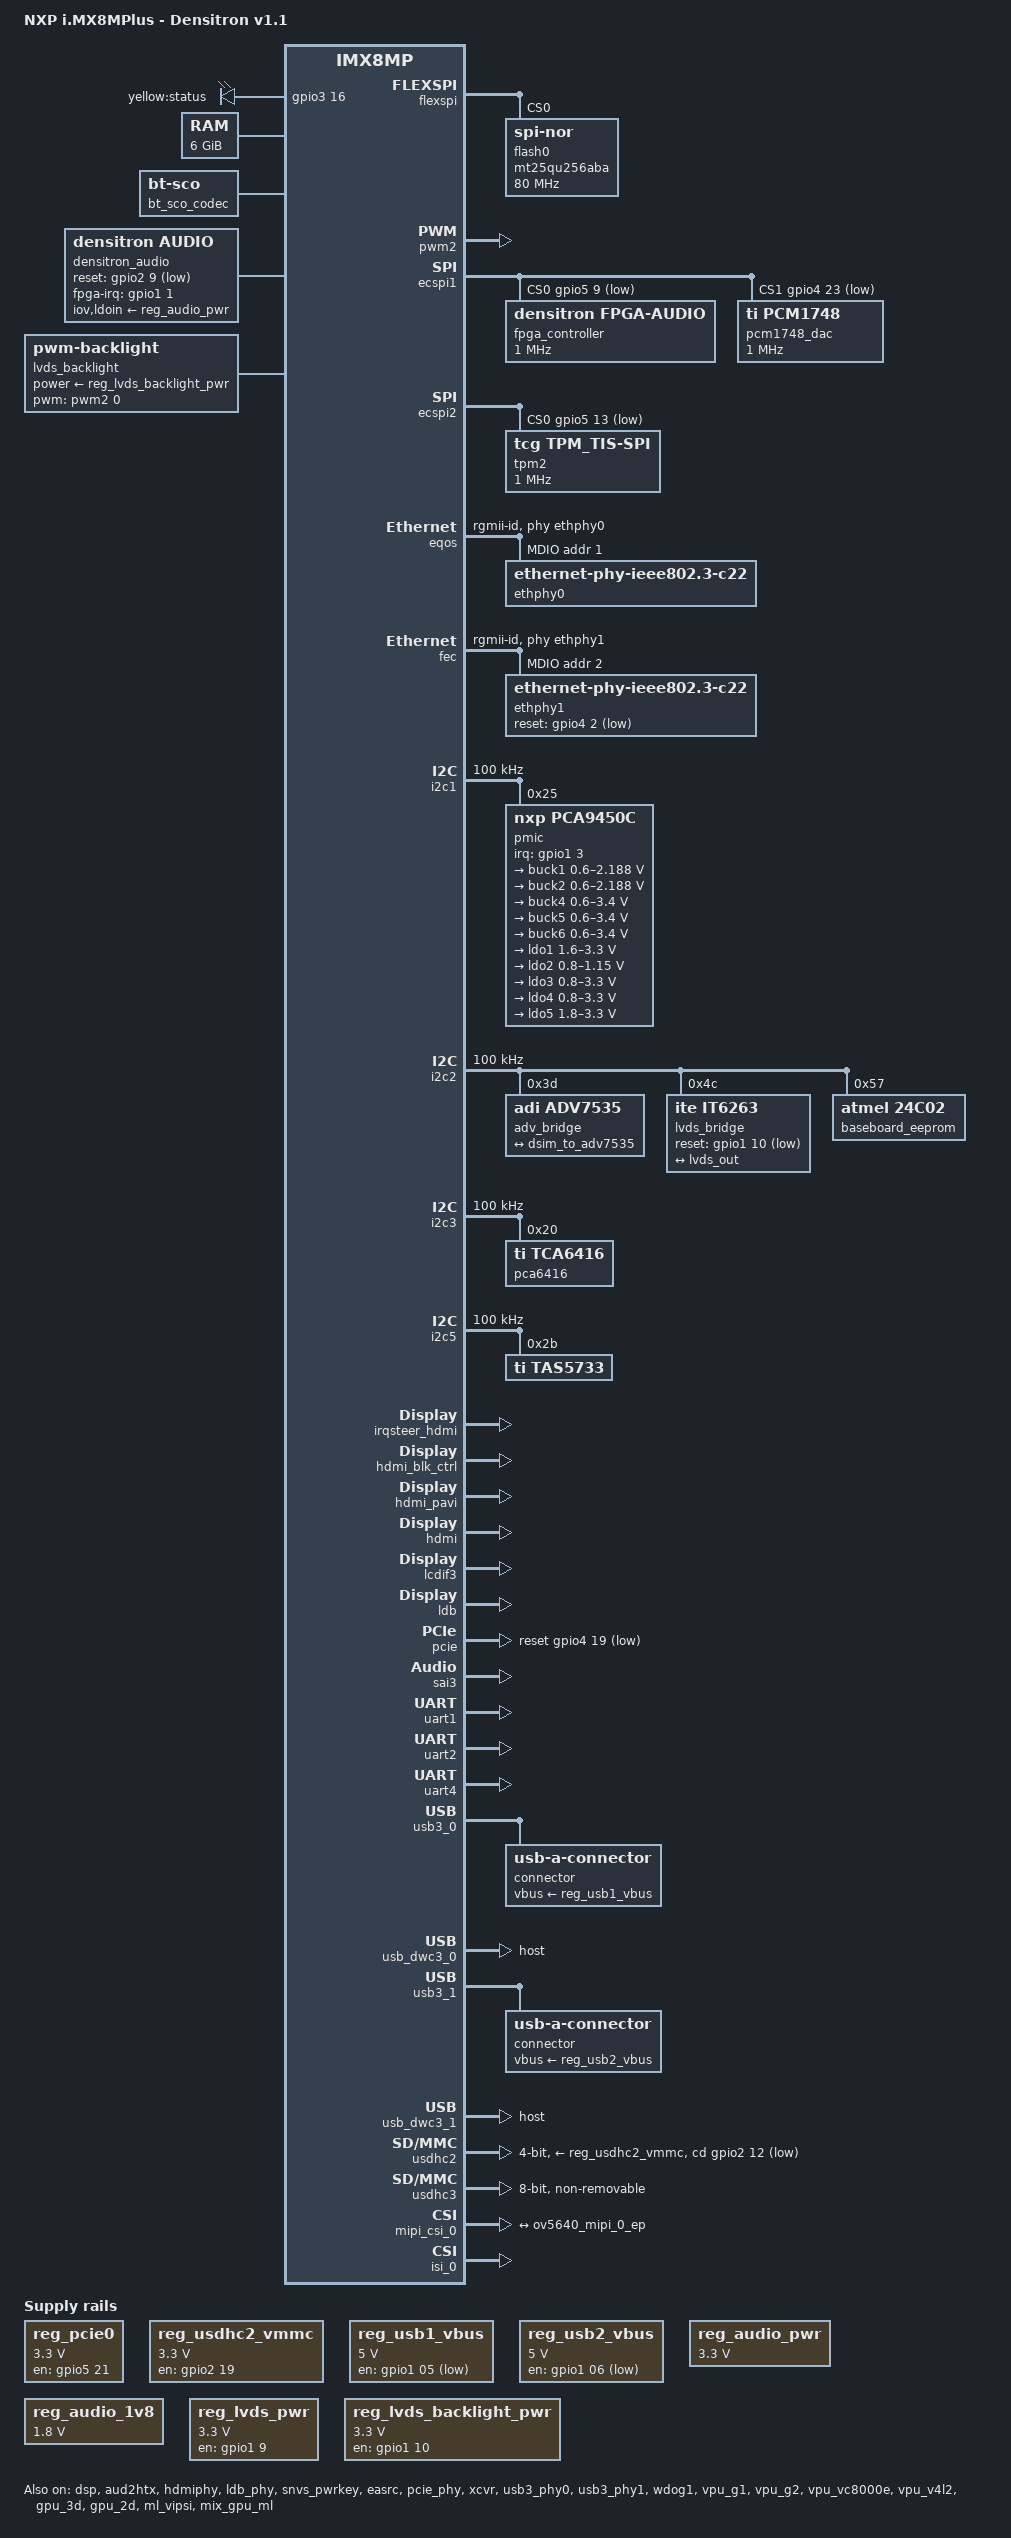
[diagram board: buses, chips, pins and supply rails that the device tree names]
// SPDX-License-Identifier: (GPL-2.0+ OR MIT)
/*
 * Copyright 2019 NXP
 */

/dts-v1/;

#include <dt-bindings/usb/pd.h>
#include "imx8mp.dtsi"

/ {
	model = "NXP i.MX8MPlus - Densitron v1.1 ";
	compatible = "fsl,imx8mp-evk", "fsl,imx8mp";

	aliases {
		spi4 = &ecspi1;
    //spi2 = &ecspi2;
	};

	chosen {
		stdout-path = &uart4;
	};

	gpio-leds {
		compatible = "gpio-leds";
		pinctrl-names = "default";
		pinctrl-0 = <&pinctrl_gpio_led>;

		status {
			label = "yellow:status";
			gpios = <&gpio3 16 GPIO_ACTIVE_HIGH>;
			default-state = "on";
		};
	};

	memory@40000000 {
		device_type = "memory";
		reg = <0x0 0x40000000 0 0xc0000000>,
		      <0x1 0x00000000 0 0xc0000000>;
	};
	
/*
	reg_can1_stby: regulator-can1-stby {
		compatible = "regulator-fixed";
		regulator-name = "can1-stby";
		pinctrl-names = "default";
		pinctrl-0 = <&pinctrl_flexcan1_reg>;
		regulator-min-microvolt = <3300000>;
		regulator-max-microvolt = <3300000>;
		gpio = <&gpio5 5 GPIO_ACTIVE_LOW>;
		enable-active-low;
	};

	reg_can2_stby: regulator-can2-stby {
		compatible = "regulator-fixed";
		regulator-name = "can2-stby";
		pinctrl-names = "default";
		pinctrl-0 = <&pinctrl_flexcan2_reg>;
		regulator-min-microvolt = <3300000>;
		regulator-max-microvolt = <3300000>;
		gpio = <&gpio4 27 GPIO_ACTIVE_LOW>;
		enable-active-low;
	};
*/

	reg_pcie0: regulator-pcie {
		compatible = "regulator-fixed";
		pinctrl-names = "default";
		pinctrl-0 = <&pinctrl_pcie0_reg>;
		regulator-name = "MPCIE_3V3";
		regulator-min-microvolt = <3300000>;
		regulator-max-microvolt = <3300000>;
		gpio = <&gpio5 21 GPIO_ACTIVE_HIGH>; //PCIe_nWAKE_3V3
		enable-active-high;
		regulator-always-on;
	};

	reg_usdhc2_vmmc: regulator-usdhc2 {
		compatible = "regulator-fixed";
		pinctrl-names = "default";
		pinctrl-0 = <&pinctrl_reg_usdhc2_vmmc>;
		regulator-name = "VSD_3V3";
		regulator-min-microvolt = <3300000>;
		regulator-max-microvolt = <3300000>;
		gpio = <&gpio2 19 GPIO_ACTIVE_HIGH>;
		enable-active-high;
		startup-delay-us = <100>;
		off-on-delay-us = <12000>;
	};

	reg_usb1_vbus: regulator-usb1 {
		compatible = "regulator-fixed";
		regulator-name = "USB1_VBUS";
		pinctrl-names = "default";
		pinctrl-0 = <&pinctrl_reg_usb1_vbus>;
		regulator-min-microvolt = <5000000>;
		regulator-max-microvolt = <5000000>;
		gpio = <&gpio1 05 GPIO_ACTIVE_HIGH>;
		enable-active-low;
		startup-delay-us = <100000>;
		regulator-always-on;
	};

	reg_usb2_vbus: regulator-usb2 {
		compatible = "regulator-fixed";
		regulator-name = "USB2_VBUS";
		pinctrl-names = "default";
		pinctrl-0 = <&pinctrl_reg_usb2_vbus>;
		regulator-min-microvolt = <5000000>;
		regulator-max-microvolt = <5000000>;
		gpio = <&gpio1 06 GPIO_ACTIVE_HIGH>;
		enable-active-low;
		startup-delay-us = <100000>;
		regulator-always-on;
	};

	reg_audio_pwr: regulator-audio-pwr {
		compatible = "regulator-fixed";
		regulator-name = "audio-pwr";
		regulator-min-microvolt = <3300000>;
		regulator-max-microvolt = <3300000>;
		/*gpio = <&gpio4 29 GPIO_ACTIVE_HIGH>;*/
		/*enable-active-high;*/
		regulator-always-on;
	};

	reg_audio_1v8: regulator-1p8v {
		compatible = "regulator-fixed";
		regulator-name = "1P8V";
		regulator-min-microvolt = <1800000>;
		regulator-max-microvolt = <1800000>;
		regulator-always-on;
	};

	bt_sco_codec: bt_sco_codec {
		#sound-dai-cells = <1>;
		compatible = "linux,bt-sco";
	};

/*
	sound-bt-sco {
		compatible = "simple-audio-card";
		simple-audio-card,name = "bt-sco-audio";
		simple-audio-card,format = "dsp_a";
		simple-audio-card,bitclock-inversion;
		simple-audio-card,frame-master = <&btcpu>;
		simple-audio-card,bitclock-master = <&btcpu>;

		btcpu: simple-audio-card,cpu {
			sound-dai = <&sai2>;
			dai-tdm-slot-num = <2>;
			dai-tdm-slot-width = <16>;
		};

		simple-audio-card,codec {
			sound-dai = <&bt_sco_codec 1>;
		};
	};
*/

/*
	sound-hdmi {
		compatible = "fsl,imx-audio-hdmi";
		model = "audio-hdmi";
		audio-cpu = <&aud2htx>;
		hdmi-out;
		constraint-rate = <44100>,
				<88200>,
				<176400>,
				<32000>,
				<48000>,
				<96000>,
				<192000>;
		status = "okay";
	};

*/

/*  OLD - ORIGINAL - AUDIO SECTION

	sound-wm8960 {
		compatible = "fsl,imx-audio-wm8960";
		model = "wm8960-audio";
		audio-cpu = <&sai3>;
		audio-codec = <&codec>;
		audio-asrc = <&easrc>;
		hp-det-gpio = <&gpio4 28 0>;
		audio-routing =
			"Headphone Jack", "HP_L",
			"Headphone Jack", "HP_R",
			"Ext Spk", "SPK_LP",
			"Ext Spk", "SPK_LN",
			"Ext Spk", "SPK_RP",
			"Ext Spk", "SPK_RN",
			"LINPUT1", "Mic Jack",
			"LINPUT3", "Mic Jack",
			"Mic Jack", "MICB";
	};


	tlv320_mclk: clk-0 {
		#clock-cells = <0>;
		compatible = "fixed-clock";
		clock-frequency = <12288000>;
	};

	sound-tlv320 {
		compatible = "simple-audio-card";
		simple-audio-card,name = "tlv320-audio";
		simple-audio-card,widgets =
			"Line",    "Line Out",
			"Line",    "Line In",
			"Microphone",    "Microphone Jack";
		simple-audio-card,routing =
			"Line Out",	"LLOUT",
			"Line Out",	"RLOUT",
			"LINE1L",	"Line In",
			"LINE1R",	"Line In",
			"MIC3L",	"Microphone Jack",
			"MIC3R",	"Microphone Jack",
			"Microphone Jack",	"Mic Bias";
		simple-audio-card,format = "dsp_b";
             // simple-audio-card,format = "i2s";
                simple-audio-card,mclk-fs = <256>;
		simple-audio-card,bitclock-master = <&sound_master>;
		simple-audio-card,frame-master = <&sound_master>;
		simple-audio-card,bitclock-inversion;

		sound_master: simple-audio-card,cpu {
			sound-dai = <&sai3>;
		};

		simple-audio-card,codec {
			sound-dai = <&tlv320aic3106>;
			clocks = <&audio_blk_ctrl IMX8MP_CLK_AUDIO_BLK_CTRL_SAI3_MCLK1>;
// clocks = <&tlv320_mclk>;
		};

	};
*/


   sound-densitron {
	    compatible = "simple-audio-card";
		   simple-audio-card,name = "Densitron Audio";
	       simple-audio-card,format = "left_j";
	       simple-audio-card,frame-master = <&cpu_dai>;
	       simple-audio-card,bitclock-master = <&cpu_dai>;
	       
	       
		   simple-audio-card,widgets =
			       "Speaker", "Speaker",
			       "Headphone", "Headphones",
			       "Microphone", "Microphone";
			       
		   simple-audio-card,routing =
			       "Speaker", "Playback",
			       "Headphones", "Playback",
			       "Capture", "Microphone";
			       
			  /* Force 16-bit word length */
     simple-audio-card,mclk-fs = <960>;  /* 46080000 / 48000 = 960, use 1024 for safety */
         
	    status = "okay";

	    cpu_dai: simple-audio-card,cpu {
		     sound-dai = <&sai3>;
		     frame-master;
		     bitclock-master;
		     
/*     
       // 32-bit slots for 24-bit data (S24_LE format) 
       dai-tdm-slot-width = <32>; 
       dai-tdm-slot-num = <2>;
       dai-tdm-slot-tx-mask = <0x3>;
       dai-tdm-slot-rx-mask = <0x3>;
*/

       /* Explicitly set MCLK for this DAI */
       system-clock-frequency = <46080000>;       
       system-clock-direction-out;         
        
	    };

	    codec_dai: simple-audio-card,codec {
			    sound-dai = <&densitron_audio>;
	    };
	};

	/* Platform device for Densitron audio board */
	densitron_audio: densitron-audio {
		compatible = "densitron,audio";
		#sound-dai-cells = <0>;
	
		
		/* Reference to I2C device */
		tas5733-i2c = <&tas5733>;
		
		/* References to SPI devices */
		fpga-spi = <&fpga_controller>;
		pcm1748-spi = <&pcm1748_dac>;
		
		/* GPIOs */
		pinctrl-names = "default";
		pinctrl-0 = <&pinctrl_densitron_audio>;
		reset-gpios = <&gpio2 9 GPIO_ACTIVE_LOW>;
		fpga-irq-gpios = <&gpio1 1 GPIO_ACTIVE_HIGH>;
		
		/* Power supplies */
		iov-supply = <&reg_audio_pwr>;
		ldoin-supply = <&reg_audio_pwr>;

		/* Clock reference */
		clocks = <&audio_blk_ctrl IMX8MP_CLK_AUDIO_BLK_CTRL_SAI3_MCLK1>;
		clock-names = "mclk";

		status = "okay";
	};


/*
fpga_codec: fpga-codec {
    compatible = "linux,spdif-dit";
    #sound-dai-cells = <0>;
};
*/

/*
deninf: deninf-codec {
    compatible = "linux,spdif-dit";
    #sound-dai-cells = <0>;
};
*/





/*
	sound-micfil {
		compatible = "fsl,imx-audio-card";
		model = "imx-audio-micfil";
		pri-dai-link {
			link-name = "micfil hifi";
			format = "i2s";
			cpu {
				sound-dai = <&micfil>;
			};
		};
	};

	sound-xcvr {
		compatible = "fsl,imx-audio-card";
		model = "imx-audio-xcvr";
		pri-dai-link {
			link-name = "XCVR PCM";
			cpu {
				sound-dai = <&xcvr>;
			};
		};
	};
*/



	reg_lvds_pwr: regulator_lvdspwr {
		pinctrl-names = "default";
		pinctrl-0 = <&pinctrl_lvds0_pwr>;
		compatible = "regulator-fixed";
		regulator-name = "lvds0_vdden";
		regulator-min-microvolt = <3300000>;
		regulator-max-microvolt = <3300000>;
		gpio = <&gpio1 9 GPIO_ACTIVE_HIGH>;
		enable-active-high;
		regulator-always-on;
	};

	reg_lvds_backlight_pwr: regulator_lvdsblpwr {
		pinctrl-names = "default";
		pinctrl-0 = <&pinctrl_lvds0_backlight_pwr>;
		compatible = "regulator-fixed";
		regulator-name = "lvds0_bl_en";
		regulator-min-microvolt = <3300000>;
		regulator-max-microvolt = <3300000>;
		gpio = <&gpio1 10 GPIO_ACTIVE_HIGH>;
		enable-active-high;
		regulator-always-on;
	};


	lvds_backlight: lvds_backlight {
		compatible = "pwm-backlight";
		pwms = <&pwm2 0 100000 0>;
		power-supply = <&reg_lvds_backlight_pwr>;
		status = "okay";


		brightness-levels = < 0   1   2   3   4   5   6   7   8   9
				     10  11  12  13  14  15  16  17  18  19
				     20  21  22  23  24  25  26  27  28  29
				     30  31  32  33  34  35  36  37  38  39
				     40  41  42  43  44  45  46  47  48  49
				     50  51  52  53  54  55  56  57  58  59
				     60  61  62  63  64  65  66  67  68  69
				     70  71  72  73  74  75  76  77  78  79
				     80  81  82  83  84  85  86  87  88  89
				     90  91  92  93  94  95  96  97  98  99
				     100 101 102 103 104 105 106 107 108 109
				     110 111 112 113 114 115 116 117 118 119
				     120 121 122 123 124 125 126 127 128 129
				     130 131 132 133 134 135 136 137 138 139
				     140 141 142 143 144 145 146 147 148 149
				     150 151 152 153 154 155 156 157 158 159
				     160 161 162 163 164 165 166 167 168 169
				     170 171 172 173 174 175 176 177 178 179
				     180 181 182 183 184 185 186 187 188 189
				     190 191 192 193 194 195 196 197 198 199
				     200 201 202 203 204 205 206 207 208 209
				     210 211 212 213 214 215 216 217 218 219
				     220 221 222 223 224 225 226 227 228 229
				     230 231 232 233 234 235 236 237 238 239
				     240 241 242 243 244 245 246 247 248 249
				     250 251 252 253 254 255>;
		default-brightness-level = <128>;
		max-brightness = <255>;
	};

	lvds0_panel {

		compatible = "panel-lvds";
		backlight = <&lvds_backlight>;
		power-supply = <&reg_lvds_pwr>;
		data-mapping = "vesa-24";
		data-width = <24>;
		height-mm = <193>; /* 135.6 */
		width-mm = <344>; /* 216.96 */
		status = "disabled"; 
		panel-timing {
			clock-frequency = <74250000>;
			hactive = <1920>;
			vactive = <1080>;
			hback-porch = <148>;
			hfront-porch = <88>;
			vback-porch = <36>;
			vfront-porch = <4>;
			hsync-len = <44>;
			vsync-len = <5>;
		};
		port {
				panel_lvds_in: endpoint {
					remote-endpoint = <&lvds_out>;
				};
		};
	};
};



&flexspi {
	pinctrl-names = "default";
	pinctrl-0 = <&pinctrl_flexspi0>;
	status = "okay";

	flash0: mt25qu256aba@0 {
		reg = <0>;
		#address-cells = <1>;
		#size-cells = <1>;
		compatible = "jedec,spi-nor";
		spi-max-frequency = <80000000>;
		spi-tx-bus-width = <1>;
		spi-rx-bus-width = <4>;
	};
};


&A53_0 {
	cpu-supply = <&buck2>;
};

&A53_1 {
	cpu-supply = <&buck2>;
};

&A53_2 {
	cpu-supply = <&buck2>;
};

&A53_3 {
	cpu-supply = <&buck2>;
};

&dsp {
	status = "okay";
};

/*
&pwm1 {
	pinctrl-names = "default";
	pinctrl-0 = <&pinctrl_pwm1>;
	status = "okay";
};
*/

&pwm2 {
	pinctrl-names = "default";
	pinctrl-0 = <&pinctrl_pwm2>;
	status = "okay";
};
/*
&pwm4 {
	pinctrl-names = "default";
	pinctrl-0 = <&pinctrl_pwm4>;
	status = "okay";
};
*/




&aud2htx {
	status = "okay";
};

// SPI on external CN4 connector on modified board. That SPI is used for Audio board communication.
&ecspi1 {
	#address-cells = <1>;
	#size-cells = <0>;
	fsl,spi-num-chipselects = <2>;
	pinctrl-names = "default";
	pinctrl-0 = <&pinctrl_ecspi1 &pinctrl_ecspi1_cs>;
	cs-gpios = <&gpio5 9 GPIO_ACTIVE_LOW>, <&gpio4 23 GPIO_ACTIVE_LOW>;
	status = "okay";
	/* FPGA Control and Status (CS0) */
	fpga_controller: fpga@0 {
		compatible = "densitron,fpga-audio";
                spi-max-frequency = <1000000>;
                reg = <0>;
                status = "okay";
 };

	/* PCM1748 Headphone DAC (CS1) */
	pcm1748_dac: pcm1748@1 {
		compatible = "ti,pcm1748";  /* Generic SPI device */
                spi-max-frequency = <1000000>;
                reg = <1>;
                status = "okay";
 };

};

&ecspi2 {
	#address-cells = <1>;
	#size-cells = <0>;
	fsl,spi-num-chipselects = <1>;
	pinctrl-names = "default";
	pinctrl-0 = <&pinctrl_ecspi2 &pinctrl_ecspi2_cs>;
	cs-gpios = <&gpio5 13 GPIO_ACTIVE_LOW>;
	status = "okay";

	tpm2:npct750@0 {
		compatible = "tcg,tpm_tis-spi";
		spi-max-frequency = <1000000>;
		reg = <0>;
		status = "okay";
	};
};

&eqos {
	pinctrl-names = "default";
	pinctrl-0 = <&pinctrl_eqos>;
	phy-mode = "rgmii-id";
	phy-handle = <&ethphy0>;
	fsl,magic-packet;
	snps,force_thresh_dma_mode;
	snps,mtl-tx-config = <&mtl_tx_setup>;
	snps,mtl-rx-config = <&mtl_rx_setup>;
	status = "okay";

	mdio {
		compatible = "snps,dwmac-mdio";
		#address-cells = <1>;
		#size-cells = <0>;

		ethphy0: ethernet-phy@1 {
			compatible = "ethernet-phy-ieee802.3-c22";
			reg = <1>;
			eee-broken-1000t;
			realtek,clkout-disable;
		};
	};

	mtl_tx_setup: tx-queues-config {
		snps,tx-queues-to-use = <5>;
		snps,tx-sched-sp;
		queue0 {
			snps,dcb-algorithm;
			snps,priority = <0x1>;
		};
		queue1 {
			snps,dcb-algorithm;
			snps,priority = <0x2>;
		};
		queue2 {
			snps,dcb-algorithm;
			snps,priority = <0x4>;
		};
		queue3 {
			snps,dcb-algorithm;
			snps,priority = <0x8>;
		};
		queue4 {
			snps,dcb-algorithm;
			snps,priority = <0xf0>;
		};
	};
	mtl_rx_setup: rx-queues-config {
		snps,rx-queues-to-use = <5>;
		snps,rx-sched-sp;
		queue0 {
			snps,dcb-algorithm;
			snps,priority = <0x1>;
			snps,map-to-dma-channel = <0>;
		};
		queue1 {
			snps,dcb-algorithm;
			snps,priority = <0x2>;
			snps,map-to-dma-channel = <1>;
		};
		queue2 {
			snps,dcb-algorithm;
			snps,priority = <0x4>;
			snps,map-to-dma-channel = <2>;
		};
		queue3 {
			snps,dcb-algorithm;
			snps,priority = <0x8>;
			snps,map-to-dma-channel = <3>;
		};
		queue4 {
			snps,dcb-algorithm;
			snps,priority = <0xf0>;
			snps,map-to-dma-channel = <4>;
		};
	};
};

&fec {
	pinctrl-names = "default";
	pinctrl-0 = <&pinctrl_fec>;
	phy-mode = "rgmii-id";
	phy-handle = <&ethphy1>;
	fsl,magic-packet;
	status = "okay";

	mdio {
		#address-cells = <1>;
		#size-cells = <0>;

		ethphy1: ethernet-phy@2 {
			compatible = "ethernet-phy-ieee802.3-c22";
			reg = <2>;
			eee-broken-1000t;
			reset-gpios = <&gpio4 2 GPIO_ACTIVE_LOW>;
			reset-assert-us = <10000>;
			reset-deassert-us = <80000>;
			realtek,aldps-enable;
			realtek,clkout-disable;
		};
	};
};

/*
&flexcan1 {
	pinctrl-names = "default";
	pinctrl-0 = <&pinctrl_flexcan1>;
	xceiver-supply = <&reg_can1_stby>;
	status = "disabled";
};


&flexcan2 {
	pinctrl-names = "default";
	pinctrl-0 = <&pinctrl_flexcan2>;
	xceiver-supply = <&reg_can2_stby>;
	status = "disabled";
};
*/


&i2c1 {
	clock-frequency = <100000>;
	pinctrl-names = "default";
	pinctrl-0 = <&pinctrl_i2c1>;
	status = "okay";

	pmic@25 {
		compatible = "nxp,pca9450c";
		reg = <0x25>;
		pinctrl-names = "default";
		pinctrl-0 = <&pinctrl_pmic>;
		interrupt-parent = <&gpio1>;
		interrupts = <3 IRQ_TYPE_LEVEL_LOW>;

		regulators {
			buck1: BUCK1 {
				regulator-name = "BUCK1";
				regulator-min-microvolt = <600000>;
				regulator-max-microvolt = <2187500>;
				regulator-boot-on;
				regulator-always-on;
				regulator-ramp-delay = <3125>;
			};

			buck2: BUCK2 {
				regulator-name = "BUCK2";
				regulator-min-microvolt = <600000>;
				regulator-max-microvolt = <2187500>;
				regulator-boot-on;
				regulator-always-on;
				regulator-ramp-delay = <3125>;
				nxp,dvs-run-voltage = <950000>;
				nxp,dvs-standby-voltage = <850000>;
			};

			buck4: BUCK4{
				regulator-name = "BUCK4";
				regulator-min-microvolt = <600000>;
				regulator-max-microvolt = <3400000>;
				regulator-boot-on;
				regulator-always-on;
			};

			buck5: BUCK5{
				regulator-name = "BUCK5";
				regulator-min-microvolt = <600000>;
				regulator-max-microvolt = <3400000>;
				regulator-boot-on;
				regulator-always-on;
			};

			buck6: BUCK6 {
				regulator-name = "BUCK6";
				regulator-min-microvolt = <600000>;
				regulator-max-microvolt = <3400000>;
				regulator-boot-on;
				regulator-always-on;
			};

			ldo1: LDO1 {
				regulator-name = "LDO1";
				regulator-min-microvolt = <1600000>;
				regulator-max-microvolt = <3300000>;
				regulator-boot-on;
				regulator-always-on;
			};

			ldo2: LDO2 {
				regulator-name = "LDO2";
				regulator-min-microvolt = <800000>;
				regulator-max-microvolt = <1150000>;
				regulator-boot-on;
				regulator-always-on;
			};

			ldo3: LDO3 {
				regulator-name = "LDO3";
				regulator-min-microvolt = <800000>;
				regulator-max-microvolt = <3300000>;
				regulator-boot-on;
				regulator-always-on;
			};

			ldo4: LDO4 {
				regulator-name = "LDO4";
				regulator-min-microvolt = <800000>;
				regulator-max-microvolt = <3300000>;
				regulator-boot-on;
				regulator-always-on;
			};

			ldo5: LDO5 {
				regulator-name = "LDO5";
				regulator-min-microvolt = <1800000>;
				regulator-max-microvolt = <3300000>;
				regulator-boot-on;
				regulator-always-on;
			};
		};
	};
};

&i2c2 {
	clock-frequency = <100000>;
	pinctrl-names = "default";
	pinctrl-0 = <&pinctrl_i2c2>;
	status = "okay";


	adv_bridge: adv7535@3d {
		compatible = "adi,adv7535";
		reg = <0x3d>;
		adi,addr-cec = <0x3b>;
		adi,dsi-lanes = <4>;
		status = "okay";

		port {
			adv7535_from_dsim: endpoint {
				remote-endpoint = <&dsim_to_adv7535>;
			};
		};
	};

	lvds_bridge: lvds-to-hdmi-bridge@4c {
		compatible = "ite,it6263";
		reg = <0x4c>;
		reset-gpios = <&gpio1 10 GPIO_ACTIVE_LOW>;

		port {
			it6263_in: endpoint {
				remote-endpoint = <&lvds_out>;
			};
		};
	};

	baseboard_eeprom: baseboard_eeprom@57 {
		compatible = "atmel,24c02";
		reg = <0x57>;
		/* read-only; */
		#address-cells = <1>;
		#size-cells = <1>;
		baseboard_data: baseboard_data@0 {
			reg = <0 0x100>;
		};
	};	


	ov5640_0: ov5640_mipi@3c {
		compatible = "ovti,ov5640";
		reg = <0x3c>;
		pinctrl-names = "default";
		pinctrl-0 = <&pinctrl_csi0_pwn>, <&pinctrl_csi0_rst>, <&pinctrl_csi_mclk>;
		clocks = <&clk IMX8MP_CLK_IPP_DO_CLKO2>;
		clock-names = "xclk";
		assigned-clocks = <&clk IMX8MP_CLK_IPP_DO_CLKO2>;
		assigned-clock-parents = <&clk IMX8MP_CLK_24M>;
		assigned-clock-rates = <24000000>;
		csi_id = <0>;
		powerdown-gpios = <&gpio2 11 GPIO_ACTIVE_HIGH>;
		reset-gpios = <&gpio1 6 GPIO_ACTIVE_LOW>;
		mclk = <24000000>;
		mclk_source = <0>;
		mipi_csi;
		status = "disabled";

		port {
			ov5640_mipi_0_ep: endpoint {
				remote-endpoint = <&mipi_csi0_ep>;
				data-lanes = <1 2>;
				clock-lanes = <0>;
			};
		};
	};

};

&i2c3 {
	clock-frequency = <100000>;
	pinctrl-names = "default";
	pinctrl-0 = <&pinctrl_i2c3>;
	status = "okay";

	pca6416: gpio@20 {
		compatible = "ti,tca6416";
		reg = <0x20>;
		gpio-controller;
		#gpio-cells = <2>;
	};

	codec: wm8960@1a {
		compatible = "wlf,wm8960";
		reg = <0x1a>;
		clocks = <&audio_blk_ctrl IMX8MP_CLK_AUDIO_BLK_CTRL_SAI3_MCLK1>;
		clock-names = "mclk";
		wlf,shared-lrclk;
		wlf,hp-cfg = <3 2 3>;
		wlf,gpio-cfg = <1 3>;
		SPKVDD1-supply = <&reg_audio_pwr>;
                status = "disabled";
	};

/*
	tlv320aic3106: audio-codec@1b {
		#sound-dai-cells = <0>;
		compatible = "ti,tlv320aic3106";
		pinctrl-names = "default";
		pinctrl-0 = <&pinctrl_tlv320>;
		reg = <0x1b>;
		ai3x-micbias-vg = <1>;
		reset-gpios = <&gpio2 9 GPIO_ACTIVE_LOW>;
                IOVDD-supply = <&reg_audio_pwr>; 
                DVDD-supply = <&reg_audio_1v8>; 
                AVDD-supply = <&reg_audio_pwr>; 
                DRVDD-supply = <&reg_audio_pwr>;
		status = "disabled";
	};
*/

/*
// address 0x51 is one of GPIO IC on board, I used just for test that module was succesfully 
// loaded in production we will need to update this to real address of devices
	deninf: deninf@51 {
                pinctrl-names = "default";
                pinctrl-0 = <&pinctrl_densitroninf1000>;
                compatible = "densitron,inf1000";
                reg = <0x51>;
                #sound-dai-cells = <0>;
                iov-supply = <&reg_audio_pwr>;
                ldoin-supply = <&reg_audio_pwr>;
                clocks = <&audio_blk_ctrl IMX8MP_CLK_AUDIO_BLK_CTRL_SAI3_MCLK1>;
                clock-names = "mclk";
		reset-gpios = <&gpio2 9 GPIO_ACTIVE_HIGH>;
                status = "okay";
 };
*/


 // Camera
	ov5640_1: ov5640_mipi@3c {
		compatible = "ovti,ov5640";
		reg = <0x3c>;
		pinctrl-names = "default";
		pinctrl-0 = <&pinctrl_csi0_pwn>, <&pinctrl_csi0_rst>, <&pinctrl_csi_mclk>;
		clocks = <&clk IMX8MP_CLK_IPP_DO_CLKO2>;
		clock-names = "xclk";
		assigned-clocks = <&clk IMX8MP_CLK_IPP_DO_CLKO2>;
		assigned-clock-parents = <&clk IMX8MP_CLK_24M>;
		assigned-clock-rates = <24000000>;
		csi_id = <0>;
		powerdown-gpios = <&gpio4 1 GPIO_ACTIVE_HIGH>;
		reset-gpios = <&gpio4 0 GPIO_ACTIVE_LOW>;
		mclk = <24000000>;
		mclk_source = <0>;
		mipi_csi;
		status = "disabled";

		port {
			ov5640_mipi_1_ep: endpoint {
				remote-endpoint = <&mipi_csi1_ep>;
				data-lanes = <1 2>;
				clock-lanes = <0>;
			};
		};
	};
};


&i2c5 {
	clock-frequency = <100000>;
	pinctrl-names = "default";
	pinctrl-0 = <&pinctrl_i2c5>;
	status = "okay";


	/* TAS5733L Power Amplifier on I2C */
	tas5733: tas5733@2b {
		compatible = "ti,tas5733";
		reg = <0x2b>;
                status = "okay";
 };
};

&irqsteer_hdmi {
	status = "okay";
};

&hdmi_blk_ctrl {
	status = "okay";
};

&hdmi_pavi {
	status = "okay";
};

&hdmi {
	status = "okay";
};

&hdmiphy {
	status = "okay";
};

&lcdif1 {
	status = "disabled";
};

&lcdif2 {
	status = "disabled";
};

&lcdif3 {
	status = "okay";

	thres-low  = <1 2>;             /* (FIFO * 1 / 2) */
	thres-high = <3 4>;             /* (FIFO * 3 / 4) */
};

&ldb {
 status = "okay";
 fsl,dual-channel;

 lvds-channel@0 {
		fsl,data-mapping = "spwg";
		fsl,data-width = <24>;
		status = "okay";

  /delete-node/ port@1;

  port@1 {
   reg = <1>;
   lvds_out: endpoint {
    remote-endpoint = <&panel_lvds_in>;
   };
  };
 };
};



&ldb_phy {
	status = "okay";
};


&mipi_dsi {
	status = "disabled";


	port@1 {
		dsim_to_adv7535: endpoint {
			remote-endpoint = <&adv7535_from_dsim>;
			attach-bridge;
		};
	};
};



&snvs_pwrkey {
	status = "okay";
};

&easrc {
	fsl,asrc-rate  = <48000>;
	status = "okay";
};

/*
&micfil {
	#sound-dai-cells = <0>;
	pinctrl-names = "default";
	pinctrl-0 = <&pinctrl_pdm>;
	assigned-clocks = <&clk IMX8MP_CLK_PDM>;
	assigned-clock-parents = <&clk IMX8MP_AUDIO_PLL1_OUT>;
	assigned-clock-rates = <196608000>;
	status = "disabled";
};
*/

&pcie{
	pinctrl-names = "default";
	pinctrl-0 = <&pinctrl_pcie>;
	reset-gpio = <&gpio4 19 GPIO_ACTIVE_LOW>;
	ext_osc = <0>;
	clocks = <&clk IMX8MP_CLK_HSIO_ROOT>,
		 <&clk IMX8MP_CLK_PCIE_AUX>,
		 <&clk IMX8MP_CLK_HSIO_AXI>,
		 <&clk IMX8MP_CLK_PCIE_ROOT>;
	clock-names = "pcie", "pcie_aux", "pcie_phy", "pcie_bus";
	assigned-clocks = <&clk IMX8MP_CLK_HSIO_AXI>,
                   <&clk IMX8MP_CLK_PCIE_AUX>;
	assigned-clock-rates = <500000000>, <10000000>;
	assigned-clock-parents = <&clk IMX8MP_SYS_PLL2_500M>,
                          <&clk IMX8MP_SYS_PLL2_50M>;
	l1ss-disabled;
	status = "okay";

};

&pcie_ep{
	pinctrl-names = "default";
	pinctrl-0 = <&pinctrl_pcie>;
	ext_osc = <0>;
	clocks = <&clk IMX8MP_CLK_HSIO_ROOT>,
		 <&clk IMX8MP_CLK_PCIE_AUX>,
		 <&clk IMX8MP_CLK_HSIO_AXI>,
		 <&clk IMX8MP_CLK_PCIE_ROOT>;
	clock-names = "pcie", "pcie_aux", "pcie_phy", "pcie_bus";
	assigned-clocks = <&clk IMX8MP_CLK_HSIO_AXI>,
                   <&clk IMX8MP_CLK_PCIE_AUX>;
	assigned-clock-rates = <500000000>, <10000000>;
	assigned-clock-parents = <&clk IMX8MP_SYS_PLL2_500M>,
                          <&clk IMX8MP_SYS_PLL2_50M>;
	status = "disabled";
};

&pcie_phy{
	ext_osc = <0>;
	status = "okay";
};

/*
&sai2 {
	#sound-dai-cells = <0>;
	pinctrl-names = "default";
	pinctrl-0 = <&pinctrl_sai2>;
	assigned-clocks = <&clk IMX8MP_CLK_SAI2>;
	assigned-clock-parents = <&clk IMX8MP_AUDIO_PLL1_OUT>;
	assigned-clock-rates = <12288000>;
	status = "disabled";
};
*/


&sai3 {
    #sound-dai-cells = <0>;
    pinctrl-names = "default";
    pinctrl-0 = <&pinctrl_sai3>;
    
    /* Explicitly set DMA channels for SAI3 */
    // dmas = <&sdma2 24 2 0>, <&sdma2 25 2 0>;
    // dma-names = "tx", "rx";

    assigned-clocks = <&clk IMX8MP_AUDIO_PLL1>, <&clk IMX8MP_CLK_SAI3>;
    assigned-clock-parents = <0>, <&clk IMX8MP_AUDIO_PLL1_OUT>;
    assigned-clock-rates = <552960000>, <46080000>;
    clocks = <&audio_blk_ctrl IMX8MP_CLK_AUDIO_BLK_CTRL_SAI3_IPG>, <&clk IMX8MP_CLK_DUMMY>,
             <&audio_blk_ctrl IMX8MP_CLK_AUDIO_BLK_CTRL_SAI3_MCLK1>, <&clk IMX8MP_CLK_DUMMY>,
             <&clk IMX8MP_CLK_DUMMY>;
    clock-names = "bus", "mclk0", "mclk1", "mclk2", "mclk3";
    fsl,sai-mclk-direction-output;
    
    // Force specific operation mode
    fsl,sai-synchronous-rx;
    fsl,sai-mclk-source = <1>;       // Use MCLK1 
    
    status = "okay";
};




&xcvr {
	#sound-dai-cells = <0>;
	status = "okay";
};

&sdma2 {
	status = "okay";
	compatible = "fsl,imx8mq-sdma", "fsl,imx7d-sdma";
};

&sdma3 {
	status = "okay";
	compatible = "fsl,imx8mq-sdma", "fsl,imx7d-sdma";
};

&uart1 {
	pinctrl-names = "default";
	pinctrl-0 = <&pinctrl_uart1>;
	assigned-clocks = <&clk IMX8MP_CLK_UART1>;
	assigned-clock-parents = <&clk IMX8MP_SYS_PLL1_80M>;
	fsl,uart-has-rtscts;
	status = "okay";
};

&uart2 {
	pinctrl-names = "default";
	pinctrl-0 = <&pinctrl_uart2>;
	uart-has-rtscts;
	fsl,dce-mode;
	status = "okay";
};


&uart4 { /* console */
	pinctrl-names = "default";
	pinctrl-0 = <&pinctrl_uart4>;
	/delete-property/ dmas;
	/delete-property/ dmas-names;
	status = "okay";
};
/*
&uart3 {
	pinctrl-names = "default";
	pinctrl-0 = <&pinctrl_uart3>;
	assigned-clocks = <&clk IMX8MP_CLK_UART3>;
	assigned-clock-parents = <&clk IMX8MP_SYS_PLL1_80M>;
	fsl,uart-has-rtscts;
	fsl,dce-mode;
	status = "okay";
};
*/


/*
&uart4 {

	pinctrl-names = "default";
	pinctrl-0 = <&pinctrl_uart4>;
	assigned-clocks = <&clk IMX8MP_CLK_UART4>;
	assigned-clock-parents = <&clk IMX8MP_SYS_PLL1_80M>;
	fsl,uart-has-rtscts;
	status = "okay";
};
*/

&usb3_phy0 {
	fsl,phy-tx-vref-tune = <0xe>;
	fsl,phy-tx-preemp-amp-tune = <3>;
	fsl,phy-tx-vboost-level = <5>;
	fsl,phy-comp-dis-tune = <7>;
	fsl,pcs-tx-deemph-3p5db = <0x21>;
	fsl,phy-pcs-tx-swing-full = <0x7f>;
	status = "okay";
};

&usb3_0 {
	status = "okay";
	connector {
		compatible = "usb-a-connector";
		vbus-supply = <&reg_usb1_vbus>;
	};
};

&usb_dwc3_0 {
	dr_mode = "host";
	status = "okay";
};

&usb3_phy1 {
	fsl,phy-tx-preemp-amp-tune = <3>;
	fsl,phy-tx-vref-tune = <0xb>;
	status = "okay";
};

&usb3_1 {
	status = "okay";
	connector {
		compatible = "usb-a-connector";
		vbus-supply = <&reg_usb2_vbus>;
	};
};

&usb_dwc3_1 {
	dr_mode = "host";
	status = "okay";
};

&usdhc2 {
	assigned-clocks = <&clk IMX8MP_CLK_USDHC2>;
	assigned-clock-rates = <400000000>;
	pinctrl-names = "default", "state_100mhz", "state_200mhz";
	pinctrl-0 = <&pinctrl_usdhc2>, <&pinctrl_usdhc2_gpio>;
	pinctrl-1 = <&pinctrl_usdhc2_100mhz>, <&pinctrl_usdhc2_gpio>;
	pinctrl-2 = <&pinctrl_usdhc2_200mhz>, <&pinctrl_usdhc2_gpio>;
	cd-gpios = <&gpio2 12 GPIO_ACTIVE_LOW>;
	vmmc-supply = <&reg_usdhc2_vmmc>;
	bus-width = <4>;
	status = "okay";
};

&usdhc3 {
	assigned-clocks = <&clk IMX8MP_CLK_USDHC3>;
	assigned-clock-rates = <400000000>;
	pinctrl-names = "default", "state_100mhz", "state_200mhz";
	pinctrl-0 = <&pinctrl_usdhc3>;
	pinctrl-1 = <&pinctrl_usdhc3_100mhz>;
	pinctrl-2 = <&pinctrl_usdhc3_200mhz>;
	bus-width = <8>;
	non-removable;
	status = "okay";
};

&wdog1 {
	pinctrl-names = "default";
	pinctrl-0 = <&pinctrl_wdog>;
	fsl,ext-reset-output;
	status = "okay";
};

&iomuxc {
	pinctrl-names = "default";
	pinctrl-0 = <&pinctrl_hog>;

	pinctrl_hog: hoggrp {
		fsl,pins = <
			MX8MP_IOMUXC_HDMI_DDC_SCL__HDMIMIX_HDMI_SCL	0x400001c2
			MX8MP_IOMUXC_HDMI_DDC_SDA__HDMIMIX_HDMI_SDA	0x400001c2
			MX8MP_IOMUXC_HDMI_HPD__HDMIMIX_HDMI_HPD		0x40000010
			MX8MP_IOMUXC_HDMI_CEC__HDMIMIX_HDMI_CEC		0x40000010
			/*
			 * M.2 pin20 & pin21 need to be set to 11 for 88W9098 to select the
			 * default Reference Clock Frequency
			 */

			 //MX8MP_IOMUXC_SD1_DATA6__GPIO2_IO08         0x00000106
		>;
	};
/*
	pinctrl_pwm1: pwm1grp {
		fsl,pins = <
			MX8MP_IOMUXC_GPIO1_IO01__PWM1_OUT	0x116
		>;
	};
*/
	pinctrl_pwm2: pwm2grp {
		fsl,pins = <
			MX8MP_IOMUXC_GPIO1_IO11__PWM2_OUT	0x116
		>;
	};
/*
	pinctrl_pwm4: pwm4grp {
		fsl,pins = <
			MX8MP_IOMUXC_SAI5_RXFS__PWM4_OUT	0x116
		>;
	};
*/
	pinctrl_lvds0_pwr: lvds0_pwr {
		fsl,pins = <
			MX8MP_IOMUXC_GPIO1_IO09__GPIO1_IO09		0x16
		>;
	};

	pinctrl_lvds0_backlight_pwr: lvds0_backlight_pwr {
		fsl,pins = <
			MX8MP_IOMUXC_GPIO1_IO10__GPIO1_IO10	0x16
		>;
	};

	pinctrl_ecspi1: ecspi1grp {
		fsl,pins = <
			MX8MP_IOMUXC_ECSPI1_SCLK__ECSPI1_SCLK		0x00001916
			MX8MP_IOMUXC_ECSPI1_MOSI__ECSPI1_MOSI		0x00000116
			MX8MP_IOMUXC_ECSPI1_MISO__ECSPI1_MISO		0x00000116
		>;
	};

	pinctrl_ecspi1_cs: ecspi1cs {
		fsl,pins = <
			MX8MP_IOMUXC_ECSPI1_SS0__GPIO5_IO09    0x00000116  // CS0
			MX8MP_IOMUXC_SAI2_RXD0__GPIO4_IO23     0x00000116  // CS1
		>;
	};

	pinctrl_ecspi2: ecspi2grp {
		fsl,pins = <
			MX8MP_IOMUXC_ECSPI2_SCLK__ECSPI2_SCLK		0x82
			MX8MP_IOMUXC_ECSPI2_MOSI__ECSPI2_MOSI		0x82
			MX8MP_IOMUXC_ECSPI2_MISO__ECSPI2_MISO		0x82
		>;
	};

	pinctrl_ecspi2_cs: ecspi2cs {
		fsl,pins = <
			MX8MP_IOMUXC_ECSPI2_SS0__GPIO5_IO13		0x40000   /// TPM
		>;
	};

	pinctrl_eqos: eqosgrp {
		fsl,pins = <
			MX8MP_IOMUXC_ENET_MDC__ENET_QOS_MDC				0x2
			MX8MP_IOMUXC_ENET_MDIO__ENET_QOS_MDIO				0x2
			MX8MP_IOMUXC_ENET_RD0__ENET_QOS_RGMII_RD0			0x90
			MX8MP_IOMUXC_ENET_RD1__ENET_QOS_RGMII_RD1			0x90
			MX8MP_IOMUXC_ENET_RD2__ENET_QOS_RGMII_RD2			0x90
			MX8MP_IOMUXC_ENET_RD3__ENET_QOS_RGMII_RD3			0x90
			MX8MP_IOMUXC_ENET_RXC__CCM_ENET_QOS_CLOCK_GENERATE_RX_CLK	0x90
			MX8MP_IOMUXC_ENET_RX_CTL__ENET_QOS_RGMII_RX_CTL			0x90
			MX8MP_IOMUXC_ENET_TD0__ENET_QOS_RGMII_TD0			0x16
			MX8MP_IOMUXC_ENET_TD1__ENET_QOS_RGMII_TD1			0x16
			MX8MP_IOMUXC_ENET_TD2__ENET_QOS_RGMII_TD2			0x16
			MX8MP_IOMUXC_ENET_TD3__ENET_QOS_RGMII_TD3			0x16
			MX8MP_IOMUXC_ENET_TX_CTL__ENET_QOS_RGMII_TX_CTL			0x16
			MX8MP_IOMUXC_ENET_TXC__CCM_ENET_QOS_CLOCK_GENERATE_TX_CLK	0x16
			MX8MP_IOMUXC_SAI2_RXC__GPIO4_IO22				0x10
		>;
	};

	pinctrl_fec: fecgrp {
		fsl,pins = <
			MX8MP_IOMUXC_SAI1_RXD2__ENET1_MDC		0x2
			MX8MP_IOMUXC_SAI1_RXD3__ENET1_MDIO		0x2
			MX8MP_IOMUXC_SAI1_RXD4__ENET1_RGMII_RD0		0x90
			MX8MP_IOMUXC_SAI1_RXD5__ENET1_RGMII_RD1		0x90
			MX8MP_IOMUXC_SAI1_RXD6__ENET1_RGMII_RD2		0x90
			MX8MP_IOMUXC_SAI1_RXD7__ENET1_RGMII_RD3		0x90
			MX8MP_IOMUXC_SAI1_TXC__ENET1_RGMII_RXC		0x90
			MX8MP_IOMUXC_SAI1_TXFS__ENET1_RGMII_RX_CTL	0x90
			MX8MP_IOMUXC_SAI1_TXD0__ENET1_RGMII_TD0		0x16
			MX8MP_IOMUXC_SAI1_TXD1__ENET1_RGMII_TD1		0x16
			MX8MP_IOMUXC_SAI1_TXD2__ENET1_RGMII_TD2		0x16
			MX8MP_IOMUXC_SAI1_TXD3__ENET1_RGMII_TD3		0x16
			MX8MP_IOMUXC_SAI1_TXD4__ENET1_RGMII_TX_CTL	0x16
			MX8MP_IOMUXC_SAI1_TXD5__ENET1_RGMII_TXC		0x16
			MX8MP_IOMUXC_SAI1_RXD0__GPIO4_IO02		0x10
			MX8MP_IOMUXC_SAI1_TXD6__GPIO4_IO18		0x1c4
		>;
	};
/*
	pinctrl_flexcan1: flexcan1grp {
		fsl,pins = <
			MX8MP_IOMUXC_SPDIF_RX__CAN1_RX          0x154
			MX8MP_IOMUXC_SPDIF_TX__CAN1_TX          0x154
		>;
	};

	pinctrl_flexcan2: flexcan2grp {
		fsl,pins = <
			MX8MP_IOMUXC_SAI5_MCLK__CAN2_RX         0x154
			MX8MP_IOMUXC_SAI5_RXD3__CAN2_TX         0x154
		>;
	};


	pinctrl_flexcan1_reg: flexcan1reggrp {
		fsl,pins = <
			MX8MP_IOMUXC_SPDIF_EXT_CLK__GPIO5_IO05  0x154   // CAN1_STBY 
		>;
	};

	pinctrl_flexcan2_reg: flexcan2reggrp {
		fsl,pins = <
			MX8MP_IOMUXC_SAI2_MCLK__GPIO4_IO27      0x154   // CAN2_STBY 
		>;
	};
*/
	pinctrl_flexspi0: flexspi0grp {
		fsl,pins = <
			MX8MP_IOMUXC_NAND_ALE__FLEXSPI_A_SCLK           0x1c2
			MX8MP_IOMUXC_NAND_CE0_B__FLEXSPI_A_SS0_B        0x82
			MX8MP_IOMUXC_NAND_DATA00__FLEXSPI_A_DATA00      0x82
			MX8MP_IOMUXC_NAND_DATA01__FLEXSPI_A_DATA01      0x82
			MX8MP_IOMUXC_NAND_DATA02__FLEXSPI_A_DATA02      0x82
			MX8MP_IOMUXC_NAND_DATA03__FLEXSPI_A_DATA03      0x82
		>;
	};

	pinctrl_gpio_led: gpioledgrp {
		fsl,pins = <
			MX8MP_IOMUXC_NAND_READY_B__GPIO3_IO16	0x140
		>;
	};

	pinctrl_i2c1: i2c1grp {
		fsl,pins = <
			MX8MP_IOMUXC_I2C1_SCL__I2C1_SCL		0x400001c2
			MX8MP_IOMUXC_I2C1_SDA__I2C1_SDA		0x400001c2
		>;
	};

	pinctrl_i2c2: i2c2grp {
		fsl,pins = <
			MX8MP_IOMUXC_I2C2_SCL__I2C2_SCL		0x400001c2
			MX8MP_IOMUXC_I2C2_SDA__I2C2_SDA		0x400001c2
		>;
	};

	pinctrl_i2c3: i2c3grp {
		fsl,pins = <
			MX8MP_IOMUXC_I2C3_SCL__I2C3_SCL		0x400001c2
			MX8MP_IOMUXC_I2C3_SDA__I2C3_SDA		0x400001c2
		>;
	};

	pinctrl_i2c5: i2c5grp {
		fsl,pins = <
			MX8MP_IOMUXC_SAI5_MCLK__I2C5_SDA         0x400001c2
			MX8MP_IOMUXC_SAI5_RXD0__I2C5_SCL         0x400001c2
		>;
	};

	pinctrl_mipi_dsi_en: mipi_dsi_en {
		fsl,pins = <
			MX8MP_IOMUXC_GPIO1_IO08__GPIO1_IO08	0x16
		>;
	};

	pinctrl_pcie: pciegrp {
		fsl,pins = <
			MX8MP_IOMUXC_I2C4_SCL__PCIE_CLKREQ_B		0x60 /* open drain, pull up */
			MX8MP_IOMUXC_SAI1_TXD7__GPIO4_IO19         0x106 //0x146 //pcie reset
			MX8MP_IOMUXC_SD1_CLK__GPIO2_IO00	0x00000106 // WIFI power
		>;
	};

	pinctrl_pcie0_reg: pcie0reggrp {
		fsl,pins = <
			MX8MP_IOMUXC_I2C4_SDA__GPIO5_IO21	0x1c4  ///PCIe_nWAKE_3V3
		>;
	};


	pinctrl_densitron_audio: densitron_audio_grp {
		fsl,pins = <
			MX8MP_IOMUXC_GPIO1_IO01__GPIO1_IO01  0x00000116    /* IRQ PIN */			
			MX8MP_IOMUXC_SD1_DATA7__GPIO2_IO09   0x00000116    /* RESET PIN */			
		>;
	};


	pinctrl_pmic: pmicgrp {
		fsl,pins = <
			MX8MP_IOMUXC_GPIO1_IO03__GPIO1_IO03	0x000001c0
		>;
	};

	pinctrl_reg_usdhc2_vmmc: regusdhc2vmmcgrp {
		fsl,pins = <
			MX8MP_IOMUXC_SD2_RESET_B__GPIO2_IO19	0x40
		>;
	};

	pinctrl_pdm: pdmgrp {
		fsl,pins = <
			MX8MP_IOMUXC_SAI5_RXFS__GPIO3_IO19					0x16
			MX8MP_IOMUXC_SAI5_RXC__GPIO3_IO20					0x16
			MX8MP_IOMUXC_SAI5_RXD0__GPIO3_IO21		            0x16
			MX8MP_IOMUXC_SAI5_RXD1__GPIO3_IO22                  0x16
			MX8MP_IOMUXC_SAI5_RXD2__GPIO3_IO23					0x16
			//MX8MP_IOMUXC_SAI5_RXD3__AUDIOMIX_PDM_BIT_STREAM03	0xd6
		>;
	};

	pinctrl_sai2: sai2grp {
		fsl,pins = <
			MX8MP_IOMUXC_SAI2_TXC__GPIO4_IO25	0xd5
			MX8MP_IOMUXC_SAI2_TXFS__GPIO4_IO24	0xd5
			MX8MP_IOMUXC_SAI2_TXD0__GPIO4_IO26	0x00000146
			MX8MP_IOMUXC_SAI2_RXD0__GPIO4_IO23	0xd5
		>;
	};

	pinctrl_sai3: sai3grp {
		fsl,pins = <
			MX8MP_IOMUXC_SAI3_TXFS__AUDIOMIX_SAI3_TX_SYNC	   0xd6 // CN27 pin 6
			MX8MP_IOMUXC_SAI3_TXC__AUDIOMIX_SAI3_TX_BCLK	    0xd6 // CN27 pin 4
			MX8MP_IOMUXC_SAI3_RXD__AUDIOMIX_SAI3_RX_DATA00	  0xd6 // CN27 pin 8
			MX8MP_IOMUXC_SAI3_TXD__AUDIOMIX_SAI3_TX_DATA00	  0xd6 // CN27 pin 7
			MX8MP_IOMUXC_SAI3_MCLK__AUDIOMIX_SAI3_MCLK	      0xd6 // CN27 pin 2

		>;
	};


	pinctrl_i2c2_synaptics_dsx_io: synaptics_dsx_iogrp {
		fsl,pins = <
			MX8MP_IOMUXC_GPIO1_IO09__GPIO1_IO09		0x16
		>;
	};

	pinctrl_uart1: uart1grp {
		fsl,pins = <
			MX8MP_IOMUXC_UART1_RXD__UART1_DCE_RX	0x140
			MX8MP_IOMUXC_UART1_TXD__UART1_DCE_TX	0x140
			MX8MP_IOMUXC_UART3_RXD__UART1_DCE_CTS	0x140
			MX8MP_IOMUXC_UART3_TXD__UART1_DCE_RTS	0x140
		>;
	};

	pinctrl_typec: typec1grp {
		fsl,pins = <
			MX8MP_IOMUXC_SAI1_TXD7__GPIO4_IO19	0x1c4
		>;
	};


	pinctrl_uart2: uart2grp {
		fsl,pins = <
                MX8MP_IOMUXC_SD1_DATA2__UART2_DCE_TX       0x140
                MX8MP_IOMUXC_SD1_DATA3__UART2_DCE_RX       0x140
                MX8MP_IOMUXC_SD1_DATA4__UART2_DCE_RTS      0x140
                MX8MP_IOMUXC_SD1_DATA5__UART2_DCE_CTS      0x140
		>;
	};

	pinctrl_usb1_vbus: usb1grp {
		fsl,pins = <
			MX8MP_IOMUXC_GPIO1_IO14__USB2_PWR		0x10
		>;
	};
/*
	pinctrl_uart3: uart3grp {
		fsl,pins = <
			MX8MP_IOMUXC_ECSPI1_SCLK__UART3_DCE_RX		0x140
			MX8MP_IOMUXC_ECSPI1_MOSI__UART3_DCE_TX		0x140
			MX8MP_IOMUXC_ECSPI1_SS0__UART3_DCE_RTS		0x140
			MX8MP_IOMUXC_ECSPI1_MISO__UART3_DCE_CTS		0x140
		>;
	};
*/
	pinctrl_uart4: uart4grp {
		fsl,pins = <
			MX8MP_IOMUXC_UART4_RXD__UART4_DCE_RX			0x140
			MX8MP_IOMUXC_UART4_TXD__UART4_DCE_TX			0x140
		>;
	};

	pinctrl_usdhc2: usdhc2grp {
		fsl,pins = <
			MX8MP_IOMUXC_SD2_CLK__USDHC2_CLK	0x190
			MX8MP_IOMUXC_SD2_CMD__USDHC2_CMD	0x1d0
			MX8MP_IOMUXC_SD2_DATA0__USDHC2_DATA0	0x1d0
			MX8MP_IOMUXC_SD2_DATA1__USDHC2_DATA1	0x1d0
			MX8MP_IOMUXC_SD2_DATA2__USDHC2_DATA2	0x1d0
			MX8MP_IOMUXC_SD2_DATA3__USDHC2_DATA3	0x1d0
			MX8MP_IOMUXC_GPIO1_IO04__USDHC2_VSELECT	0xc0
		>;
	};

	pinctrl_usdhc2_100mhz: usdhc2-100mhzgrp {
		fsl,pins = <
			MX8MP_IOMUXC_SD2_CLK__USDHC2_CLK	0x194
			MX8MP_IOMUXC_SD2_CMD__USDHC2_CMD	0x1d4
			MX8MP_IOMUXC_SD2_DATA0__USDHC2_DATA0	0x1d4
			MX8MP_IOMUXC_SD2_DATA1__USDHC2_DATA1	0x1d4
			MX8MP_IOMUXC_SD2_DATA2__USDHC2_DATA2	0x1d4
			MX8MP_IOMUXC_SD2_DATA3__USDHC2_DATA3	0x1d4
			MX8MP_IOMUXC_GPIO1_IO04__USDHC2_VSELECT 0xc0
		>;
	};

	pinctrl_usdhc2_200mhz: usdhc2-200mhzgrp {
		fsl,pins = <
			MX8MP_IOMUXC_SD2_CLK__USDHC2_CLK	0x196
			MX8MP_IOMUXC_SD2_CMD__USDHC2_CMD	0x1d6
			MX8MP_IOMUXC_SD2_DATA0__USDHC2_DATA0	0x1d6
			MX8MP_IOMUXC_SD2_DATA1__USDHC2_DATA1	0x1d6
			MX8MP_IOMUXC_SD2_DATA2__USDHC2_DATA2	0x1d6
			MX8MP_IOMUXC_SD2_DATA3__USDHC2_DATA3	0x1d6
			MX8MP_IOMUXC_GPIO1_IO04__USDHC2_VSELECT 0xc0
		>;
	};

	pinctrl_usdhc2_gpio: usdhc2gpiogrp {
		fsl,pins = <
			MX8MP_IOMUXC_SD2_CD_B__GPIO2_IO12	0x1c4
		>;
	};

	pinctrl_usdhc3: usdhc3grp {
		fsl,pins = <
			MX8MP_IOMUXC_NAND_WE_B__USDHC3_CLK	0x190
			MX8MP_IOMUXC_NAND_WP_B__USDHC3_CMD	0x1d0
			MX8MP_IOMUXC_NAND_DATA04__USDHC3_DATA0	0x1d0
			MX8MP_IOMUXC_NAND_DATA05__USDHC3_DATA1	0x1d0
			MX8MP_IOMUXC_NAND_DATA06__USDHC3_DATA2	0x1d0
			MX8MP_IOMUXC_NAND_DATA07__USDHC3_DATA3	0x1d0
			MX8MP_IOMUXC_NAND_RE_B__USDHC3_DATA4	0x1d0
			MX8MP_IOMUXC_NAND_CE2_B__USDHC3_DATA5	0x1d0
			MX8MP_IOMUXC_NAND_CE3_B__USDHC3_DATA6	0x1d0
			MX8MP_IOMUXC_NAND_CLE__USDHC3_DATA7	0x1d0
			MX8MP_IOMUXC_NAND_CE1_B__USDHC3_STROBE	0x190
		>;
	};

	pinctrl_usdhc3_100mhz: usdhc3-100mhzgrp {
		fsl,pins = <
			MX8MP_IOMUXC_NAND_WE_B__USDHC3_CLK	0x194
			MX8MP_IOMUXC_NAND_WP_B__USDHC3_CMD	0x1d4
			MX8MP_IOMUXC_NAND_DATA04__USDHC3_DATA0	0x1d4
			MX8MP_IOMUXC_NAND_DATA05__USDHC3_DATA1	0x1d4
			MX8MP_IOMUXC_NAND_DATA06__USDHC3_DATA2	0x1d4
			MX8MP_IOMUXC_NAND_DATA07__USDHC3_DATA3	0x1d4
			MX8MP_IOMUXC_NAND_RE_B__USDHC3_DATA4	0x1d4
			MX8MP_IOMUXC_NAND_CE2_B__USDHC3_DATA5	0x1d4
			MX8MP_IOMUXC_NAND_CE3_B__USDHC3_DATA6	0x1d4
			MX8MP_IOMUXC_NAND_CLE__USDHC3_DATA7	0x1d4
			MX8MP_IOMUXC_NAND_CE1_B__USDHC3_STROBE	0x194
		>;
	};

	pinctrl_usdhc3_200mhz: usdhc3-200mhzgrp {
		fsl,pins = <
			MX8MP_IOMUXC_NAND_WE_B__USDHC3_CLK	0x196
			MX8MP_IOMUXC_NAND_WP_B__USDHC3_CMD	0x1d6
			MX8MP_IOMUXC_NAND_DATA04__USDHC3_DATA0	0x1d6
			MX8MP_IOMUXC_NAND_DATA05__USDHC3_DATA1	0x1d6
			MX8MP_IOMUXC_NAND_DATA06__USDHC3_DATA2	0x1d6
			MX8MP_IOMUXC_NAND_DATA07__USDHC3_DATA3	0x1d6
			MX8MP_IOMUXC_NAND_RE_B__USDHC3_DATA4	0x1d6
			MX8MP_IOMUXC_NAND_CE2_B__USDHC3_DATA5	0x1d6
			MX8MP_IOMUXC_NAND_CE3_B__USDHC3_DATA6	0x1d6
			MX8MP_IOMUXC_NAND_CLE__USDHC3_DATA7	0x1d6
			MX8MP_IOMUXC_NAND_CE1_B__USDHC3_STROBE	0x196
		>;
	};

	pinctrl_wdog: wdoggrp {
		fsl,pins = <
			MX8MP_IOMUXC_GPIO1_IO02__WDOG1_WDOG_B	0x166
		>;
	};

	pinctrl_reg_usb1_vbus: usb1_vbus_grp {
		fsl,pins = <
			MX8MP_IOMUXC_GPIO1_IO05__GPIO1_IO05	0x59
		>;
	};

	pinctrl_reg_usb2_vbus: usb2_vbus_grp {
		fsl,pins = <
			MX8MP_IOMUXC_GPIO1_IO06__GPIO1_IO06	0x59
		>;
	};

	pinctrl_csi0_pwn: csi0_pwn_grp {
		fsl,pins = <
			MX8MP_IOMUXC_SD1_STROBE__GPIO2_IO11	0x10
		>;
	};

	pinctrl_csi0_rst: csi0_rst_grp {
		fsl,pins = <
			MX8MP_IOMUXC_GPIO1_IO06__GPIO1_IO06		0x10
		>;
	};

	pinctrl_csi_mclk: csi_mclk_grp {
		fsl,pins = <
			MX8MP_IOMUXC_GPIO1_IO15__CCM_CLKO2	0x50
		>;
	};

};

&vpu_g1 {
	status = "okay";
};

&vpu_g2 {
	status = "okay";
};

&vpu_vc8000e {
	status = "okay";
};

&vpu_v4l2 {
	status = "okay";
};

&gpu_3d {
	status = "okay";
};

&gpu_2d {
	status = "okay";
};

&ml_vipsi {
	status = "okay";
};

&mix_gpu_ml {
	status = "okay";
};

&mipi_csi_0 {
	#address-cells = <1>;
	#size-cells = <0>;
	status = "okay";

	port@0 {
		reg = <0>;
		mipi_csi0_ep: endpoint {
			remote-endpoint = <&ov5640_mipi_0_ep>;
			data-lanes = <2>;
			csis-hs-settle = <13>;
			csis-clk-settle = <2>;
			csis-wclk;
		};
	};
};



&mipi_csi_1 {
	#address-cells = <1>;
	#size-cells = <0>;
	status = "disabled";

	port@1 {
		reg = <1>;
		mipi_csi1_ep: endpoint {
			remote-endpoint = <&ov5640_mipi_1_ep>;
			data-lanes = <2>;
			csis-hs-settle = <13>;
			csis-clk-settle = <2>;
			csis-wclk;
		};
	};
};


&cameradev {
	status = "disabled";
};

&isi_0 {
	status = "okay";

	cap_device {
		status = "okay";
	};

	m2m_device {
		status = "okay";
	};
};

&isi_1 {
	status = "disabled";

	cap_device {
		status = "okay";
	};
};


